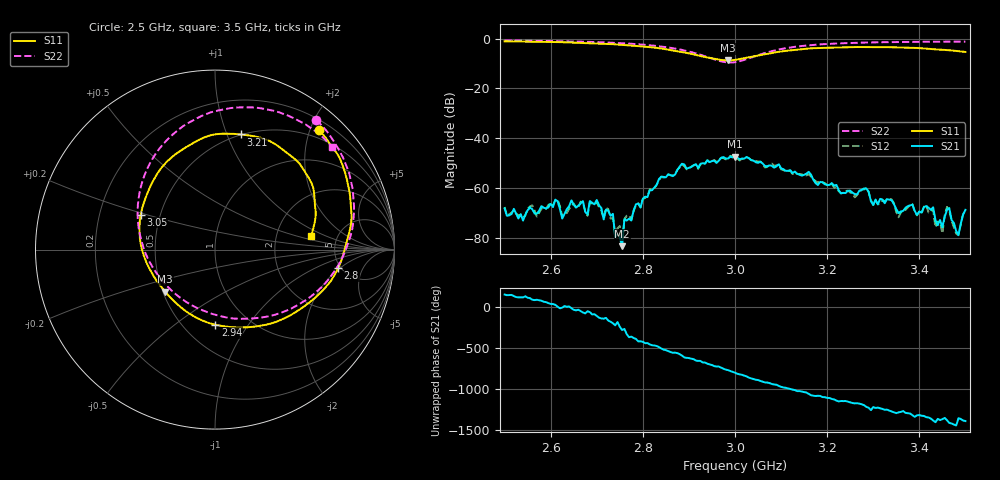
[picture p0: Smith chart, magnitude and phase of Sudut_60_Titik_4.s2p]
# Hz S RI R 50
! CMT, C1220, 16058040, 17.2.0/1
! Date: 15/08/2018 10:31:48
! Data: Format (Calibration Info)
! Freq  S11: Re/Im (F2)  S21: Re/Im (F2)  S12: Re/Im (F2)  S22: Re/Im (F2)
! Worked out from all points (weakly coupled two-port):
!   201 points, 2.5 GHz to 3.5 GHz, reference 50 ohm
!   highest |S21| = -47.39 dB at 3 GHz (marker M1); lowest = -83.3 dB at 2.755 GHz (marker M2)
!   lowest |S11| = -8.8 dB at 2.985 GHz (marker M3), VSWR 2.14, Z = 25.7 - j13.9 ohm
!   |S11| at or under -10 dB: nowhere
!   |S22| runs from -9.6 to -0.8 dB; largest |S21 - S12| = 0.00033
!   S11 on the Smith chart (normalised r, x): 2.5 GHz: 0.36, +2.16; 2.8 GHz: 4.74, -1.90; 2.94 GHz: 0.70, -0.72; 3.05 GHz: 0.39, +0.19; 3.21 GHz: 0.50, +1.12; 3.5 GHz: 3.19, +0.66
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2.5e9  0.5814 0.6636  -0.000346 0.000179  -0.000368 0.000197  0.5648 0.722
2.54e9  0.6311 0.6025  -0.000105 0.000197  -9.19e-05 0.00024  0.6102 0.6738
2.61e9  0.7056 0.483  0.00052 0.000271  0.000506 0.000263  0.6829 0.5691
2.625e9  0.7198 0.4436  0.000243 -3.01e-05  0.000273 -1.28e-05  0.6975 0.543
2.67e9  0.7475 0.333  0.000227 -0.000497  0.000173 -0.000477  0.7379 0.4525
2.725e9  0.7605 0.1782  -0.000338 -9.29e-05  -0.000369 -8.08e-05  0.7688 0.3156
2.755e9  0.7419 0.0729  1.08e-05 6.75e-05  -1.32e-05 8.3e-05  0.7746 0.2271
2.8e9  0.6859 -0.1038  0.000273 -0.000547  0.000267 -0.000539  0.7532 0.0703
2.835e9  0.6013 -0.2269  -0.000916 -0.00121  -0.000834 -0.00117  0.6988 -0.0651
2.94e9  0.00269 -0.4189  0.00313 0.00181  0.00306 0.00193  0.1809 -0.3848
2.985e9  -0.2774 -0.2344  0.00264 -0.00291  0.00277 -0.00281  -0.1674 -0.2867
3e9  -0.3456 -0.1416  0.000806 -0.0042  0.000583 -0.00425  -0.2671 -0.2034
3.05e9  -0.4139 0.1945  -0.00313 -0.000655  -0.00335 -0.000585  -0.4305 0.1735
3.17e9  -0.00954 0.6406  0.00147 1.02e-05  0.0015 0.00016  -0.077 0.7437
3.21e9  0.1432 0.6414  0.000978 -0.000795  0.000883 -0.000843  0.0697 0.7854
3.335e9  0.4686 0.4816  -0.000586 1.6e-05  -0.000609 8.29e-05  0.4028 0.7479
3.355e9  0.4987 0.4371  -0.000291 0.000122  -0.000224 0.000132  0.4408 0.731
3.415e9  0.554 0.2953  -6.87e-05 0.000431  -2.09e-05 0.000462  0.5428 0.6712
3.45e9  0.5611 0.2013  4.24e-05 0.000159  2.07e-05 0.000121  0.593 0.6314
3.46e9  0.5598 0.1785  0.000168 0.000323  0.000178 0.000377  0.6051 0.6213
3.485e9  0.5469 0.1143  8.84e-06 0.000114  4.81e-05 0.000103  0.6345 0.5912
3.5e9  0.5339 0.0738  0.000227 0.000286  0.000235 0.000271  0.6515 0.5742
